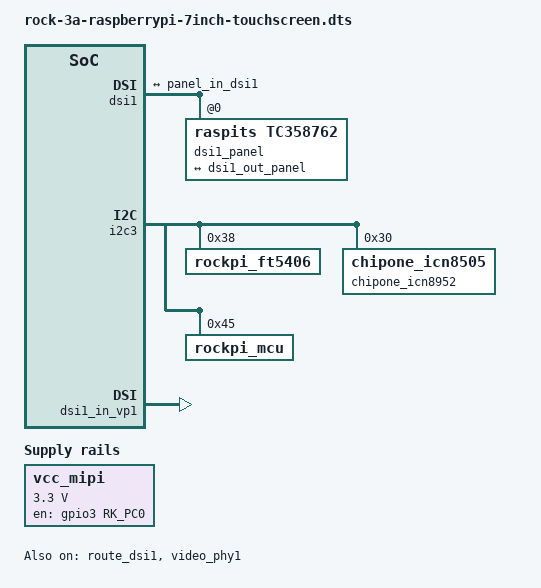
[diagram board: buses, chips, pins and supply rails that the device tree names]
/dts-v1/;
/plugin/;

#include <dt-bindings/gpio/gpio.h>
#include <dt-bindings/pinctrl/rockchip.h>

/ {
	metadata {
		title = "Enable Raspberry Pi 7-inch Touchscreen";
		compatible = "radxa,rock-3a";
		category = "display";
		exclusive = "dsi1";
		description = "Enable Raspberry Pi 7-inch Touchscreen.";
	};
};

&{/} {
	vcc_mipi: vcc-mipi {
		status = "okay";
		compatible = "regulator-fixed";
		regulator-name = "vcc_mipi";
		regulator-boot-on;
		regulator-min-microvolt = <3300000>;
		regulator-max-microvolt = <3300000>;
		enable-active-high;
		regulator-always-on;
		gpio = <&gpio3 RK_PC0 GPIO_ACTIVE_HIGH>;
	};
};

&dsi1 {
	status = "okay";
	#address-cells = <1>;
	#size-cells = <0>;

	dsi1_panel: dsi-panel@0 {
		compatible = "raspits,tc358762";
		reg = <0x0>;
		status = "okay";

		ports {
			#address-cells = <1>;
			#size-cells = <0>;

			port@0 {
				reg = <0>;
				panel_in_dsi1: endpoint {
					remote-endpoint = <&dsi1_out_panel>;
				};
			};
		};
	};

	ports {
		#address-cells = <1>;
		#size-cells = <0>;

		port@1 {
			reg = <1>;
			#address-cells = <1>;
			#size-cells = <0>;

			dsi1_out_panel: endpoint@0 {
				reg = <0>;
				remote-endpoint = <&panel_in_dsi1>;
			};
		};
	};
};

&i2c3 {
	status = "okay";
	pinctrl-0 = <&i2c3m1_xfer>;
	#address-cells = <1>;
	#size-cells = <0>;

	rockpi_ft5406: rockpi_ft5406@38 {
		compatible = "rockpi_ft5406";
		reg = <0x38>;
	};

	chipone_icn8952: chipone_icn8952@30 {
		compatible = "chipone_icn8505";
		reg = <0x30>;
	};

	rockpi_mcu: rockpi-mcu@45 {
		compatible = "rockpi_mcu";
		reg = <0x45>;
	};
};

&dsi1_in_vp0 {
	status = "disabled";
};

&dsi1_in_vp1 {
	status = "okay";
};

&route_dsi1 {
	status = "okay";
};

&video_phy1 {
	status = "okay";
};
